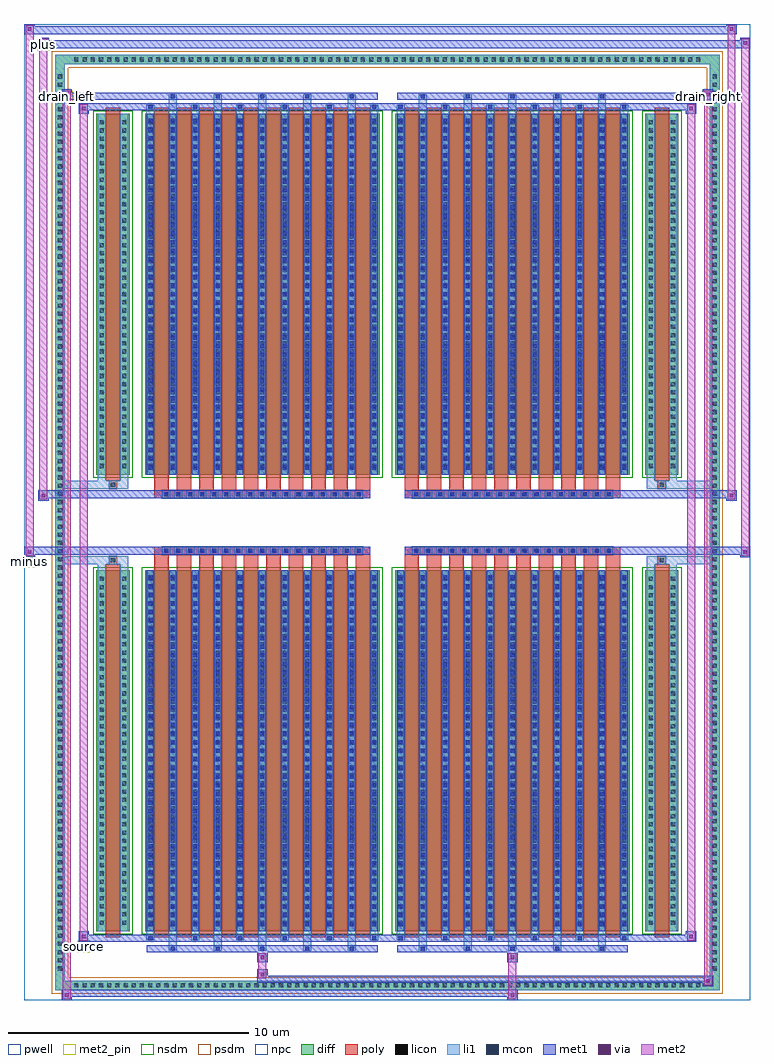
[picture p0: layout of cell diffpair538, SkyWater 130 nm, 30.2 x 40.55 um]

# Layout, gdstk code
import gdstk
lib = gdstk.Library(unit=1e-6, precision=5e-09)
def R(c, l, rs):  # rectangles x0, y0, x1, y1
    for r in rs: c.add(gdstk.rectangle(r[:2], r[2:], *l))
def A(c, l, x, y, w, h, nx, ny, dx, dy):  # array of equal rectangles
    R(c, l, [(x+i*dx, y+j*dy, x+i*dx+w, y+j*dy+h) for i in range(nx) for j in range(ny)])
def P(c, l, *ps):  # polygons
    for p in ps: c.add(gdstk.Polygon(p, *l))
pwell = (64, 44)
diff = (65, 20)
poly = (66, 20)
licon = (66, 44)
li1 = (67, 20)
mcon = (67, 44)
met1 = (68, 20)
via = (68, 44)
met2_pin = (69, 16)
met2 = (69, 20)
nsdm = (93, 44)
psdm = (94, 20)
npc = (95, 20)

diffpair538 = lib.new_cell('diffpair538')
R(diffpair538, pwell, [(-15.08,-19.84,15.08,20.71), (-12.4,-18.03,-0.01,-0.805), (0.01,-18.03,12.4,-0.805), (-12.4,0.805,-0.01,18.03), (0.01,0.805,12.4,18.03)])
A(diffpair538, diff, -13.125, -19.44, 0.41, 0.41, 77, 2, 0.34, 38.47)
A(diffpair538, diff, -13.81, -18.735, 0.41, 0.41, 1, 110, 0, 0.34)
A(diffpair538, diff, 13.4, -18.735, 0.41, 0.41, 1, 110, 0, 0.34)
R(diffpair538, diff, [(-13.125,-19.44,13.125,-19.03), (-13.81,-18.735,-13.4,18.735), (13.4,-18.735,13.81,18.735), (-12.09,-16.985,-10.71,-1.985), (-10.07,-16.985,-0.32,-1.985), (0.32,-16.985,10.07,-1.985), (10.71,-16.985,12.09,-1.985), (-12.09,1.985,-10.71,16.985), (-10.07,1.985,-0.32,16.985), (0.32,1.985,10.07,16.985), (10.71,1.985,12.09,16.985), (-13.125,19.03,13.125,19.44)])
P(diffpair538, diff, [(13.81,19.44),(-13.81,19.44),(-13.81,-19.03),(-13.4,-19.03),(-13.4,19.03),(13.4,19.03),(13.4,-19.03),(-13.4,-19.03),(-13.81,-19.03),(-13.81,-19.44),(13.81,-19.44)])
A(diffpair538, poly, -9.68, -17.235, 0.6, 15.5, 10, 2, 0.93, 18.97)
A(diffpair538, poly, 0.71, -17.235, 0.6, 15.5, 10, 2, 0.93, 18.97)
A(diffpair538, poly, -9.68, -1.735, 0.6, 0.4, 10, 2, 0.93, 3.07)
A(diffpair538, poly, 0.71, -1.735, 0.6, 0.4, 10, 2, 0.93, 3.07)
A(diffpair538, poly, -9.36, -1.335, 0.33, 0.33, 17, 2, 0.5, 2.34)
A(diffpair538, poly, 1.03, -1.335, 0.33, 0.33, 17, 2, 0.5, 2.34)
R(diffpair538, poly, [(-11.7,-17.235,-11.1,-1.735), (11.1,-17.235,11.7,-1.735), (-11.565,-1.735,-11.235,-1.405), (-11.565,-1.735,-11.235,-1.405), (11.235,-1.735,11.565,-1.405), (11.235,-1.735,11.565,-1.405), (-9.68,-1.335,-0.71,-1.005), (0.71,-1.335,9.68,-1.005), (-9.68,1.005,-0.71,1.335), (0.71,1.005,9.68,1.335), (-11.565,1.405,-11.235,1.735), (-11.565,1.405,-11.235,1.735), (11.235,1.405,11.565,1.735), (11.235,1.405,11.565,1.735), (-11.7,1.735,-11.1,17.235), (11.1,1.735,11.7,17.235)])
A(diffpair538, licon, -13.005, -19.32, 0.17, 0.17, 77, 2, 0.34, 38.47)
A(diffpair538, licon, -13.69, -18.615, 0.17, 0.17, 1, 110, 0, 0.34)
A(diffpair538, licon, 13.52, -18.615, 0.17, 0.17, 1, 110, 0, 0.34)
A(diffpair538, licon, -11.95, -16.71, 0.17, 0.17, 1, 43, 0, 0.34)
A(diffpair538, licon, -11.02, -16.71, 0.17, 0.17, 1, 43, 0, 0.34)
A(diffpair538, licon, -9.93, -16.71, 0.17, 0.17, 11, 43, 0.93, 0.34)
A(diffpair538, licon, 0.46, -16.71, 0.17, 0.17, 11, 43, 0.93, 0.34)
A(diffpair538, licon, 10.85, -16.71, 0.17, 0.17, 1, 43, 0, 0.34)
A(diffpair538, licon, 11.78, -16.71, 0.17, 0.17, 1, 43, 0, 0.34)
A(diffpair538, licon, -9.28, -1.255, 0.17, 0.17, 17, 2, 0.5, 2.34)
A(diffpair538, licon, 1.11, -1.255, 0.17, 0.17, 17, 2, 0.5, 2.34)
A(diffpair538, licon, -11.95, 2.26, 0.17, 0.17, 1, 43, 0, 0.34)
A(diffpair538, licon, -11.02, 2.26, 0.17, 0.17, 1, 43, 0, 0.34)
A(diffpair538, licon, -9.93, 2.26, 0.17, 0.17, 11, 43, 0.93, 0.34)
A(diffpair538, licon, 0.46, 2.26, 0.17, 0.17, 11, 43, 0.93, 0.34)
A(diffpair538, licon, 10.85, 2.26, 0.17, 0.17, 1, 43, 0, 0.34)
A(diffpair538, licon, 11.78, 2.26, 0.17, 0.17, 1, 43, 0, 0.34)
R(diffpair538, licon, [(-11.485,-1.655,-11.315,-1.485), (11.315,-1.655,11.485,-1.485), (-11.485,1.485,-11.315,1.655), (11.315,1.485,11.485,1.655)])
A(diffpair538, li1, -13.085, -19.4, 0.33, 0.33, 77, 2, 0.34, 38.47)
A(diffpair538, li1, -13.77, -18.695, 0.33, 0.33, 1, 110, 0, 0.34)
A(diffpair538, li1, 13.44, -18.695, 0.33, 0.33, 1, 110, 0, 0.34)
A(diffpair538, li1, -9.08, -17.79, 0.33, 0.805, 5, 2, 1.86, 34.775)
A(diffpair538, li1, -9, -17.79, 0.17, 0.17, 5, 2, 1.86, 35.41)
A(diffpair538, li1, 1.31, -17.79, 0.33, 0.805, 5, 2, 1.86, 34.775)
A(diffpair538, li1, 1.39, -17.79, 0.17, 0.17, 5, 2, 1.86, 35.41)
A(diffpair538, li1, -10.01, -17.36, 0.33, 0.375, 6, 2, 1.86, 34.345)
A(diffpair538, li1, -9.93, -17.36, 0.17, 0.17, 6, 2, 1.86, 34.55)
A(diffpair538, li1, 0.38, -17.36, 0.33, 0.375, 6, 2, 1.86, 34.345)
A(diffpair538, li1, 0.46, -17.36, 0.17, 0.17, 6, 2, 1.86, 34.55)
A(diffpair538, li1, -10.01, -16.985, 0.33, 15, 11, 2, 0.93, 18.97)
A(diffpair538, li1, 0.38, -16.985, 0.33, 15, 11, 2, 0.93, 18.97)
A(diffpair538, li1, -12.03, -16.79, 0.33, 0.33, 1, 43, 0, 0.34)
A(diffpair538, li1, -11.1, -16.79, 0.33, 0.33, 1, 43, 0, 0.34)
A(diffpair538, li1, -10.01, -16.79, 0.33, 0.33, 11, 43, 0.93, 0.34)
A(diffpair538, li1, 0.38, -16.79, 0.33, 0.33, 11, 43, 0.93, 0.34)
A(diffpair538, li1, 10.77, -16.79, 0.33, 0.33, 1, 43, 0, 0.34)
A(diffpair538, li1, 11.7, -16.79, 0.33, 0.33, 1, 43, 0, 0.34)
A(diffpair538, li1, -9.93, -16.77, 0.17, 0.17, 11, 41, 0.93, 0.36)
A(diffpair538, li1, -9.93, -16.77, 0.17, 14.57, 11, 2, 0.93, 18.97)
A(diffpair538, li1, 0.46, -16.77, 0.17, 0.17, 11, 41, 0.93, 0.36)
A(diffpair538, li1, 0.46, -16.77, 0.17, 14.57, 11, 2, 0.93, 18.97)
A(diffpair538, li1, -9.36, -1.335, 0.33, 0.33, 17, 2, 0.5, 2.34)
A(diffpair538, li1, 1.03, -1.335, 0.33, 0.33, 17, 2, 0.5, 2.34)
A(diffpair538, li1, -12.03, 2.18, 0.33, 0.33, 1, 43, 0, 0.34)
A(diffpair538, li1, -11.1, 2.18, 0.33, 0.33, 1, 43, 0, 0.34)
A(diffpair538, li1, -10.01, 2.18, 0.33, 0.33, 11, 43, 0.93, 0.34)
A(diffpair538, li1, 0.38, 2.18, 0.33, 0.33, 11, 43, 0.93, 0.34)
A(diffpair538, li1, 10.77, 2.18, 0.33, 0.33, 1, 43, 0, 0.34)
A(diffpair538, li1, 11.7, 2.18, 0.33, 0.33, 1, 43, 0, 0.34)
A(diffpair538, li1, -9.93, 2.2, 0.17, 0.17, 11, 41, 0.93, 0.36)
A(diffpair538, li1, 0.46, 2.2, 0.17, 0.17, 11, 41, 0.93, 0.36)
R(diffpair538, li1, [(-13.81,-19.44,-13.4,-19.03), (-13.81,-19.44,-13.4,-19.03), (-13.4,-19.44,13.4,-19.03), (13.4,-19.44,13.81,-19.03), (13.4,-19.44,13.81,-19.03), (-13.81,-19.03,-13.4,19.03), (13.4,-19.03,13.81,19.03), (-12.03,-16.985,-11.7,-1.985), (-11.1,-16.985,-10.77,-1.985), (10.77,-16.985,11.1,-1.985), (11.7,-16.985,12.03,-1.985), (-12.03,-1.985,-11.7,-1.405), (-11.1,-1.985,-10.77,-1.405), (10.77,-1.985,11.1,-1.405), (11.7,-1.985,12.03,-1.405), (-13.81,-1.735,-11.565,-1.405), (-12.03,-1.735,-11.565,-1.405), (-11.565,-1.735,-11.235,-1.405), (-11.235,-1.735,-10.77,-1.405), (10.77,-1.735,11.235,-1.405), (11.235,-1.735,11.565,-1.405), (11.235,-1.735,13.81,-1.405), (11.565,-1.735,12.03,-1.405), (-13.81,1.405,-11.565,1.735), (-12.03,1.405,-11.565,1.735), (-12.03,1.405,-11.7,1.985), (-11.565,1.405,-11.235,1.735), (-11.235,1.405,-10.77,1.735), (-11.1,1.405,-10.77,1.985), (10.77,1.405,11.235,1.735), (10.77,1.405,11.1,1.985), (11.235,1.405,11.565,1.735), (11.235,1.405,13.81,1.735), (11.565,1.405,12.03,1.735), (11.7,1.405,12.03,1.985), (-12.03,1.985,-11.7,16.985), (-11.1,1.985,-10.77,16.985), (10.77,1.985,11.1,16.985), (11.7,1.985,12.03,16.985), (-13.81,19.03,-13.4,19.44), (-13.81,19.03,-13.4,19.44), (-13.4,19.03,13.4,19.44), (13.4,19.03,13.81,19.44), (13.4,19.03,13.81,19.44)])
A(diffpair538, mcon, -9, -17.79, 0.17, 0.17, 5, 2, 1.86, 35.41)
A(diffpair538, mcon, 1.39, -17.79, 0.17, 0.17, 5, 2, 1.86, 35.41)
A(diffpair538, mcon, -9.93, -17.36, 0.17, 0.17, 6, 2, 1.86, 34.55)
A(diffpair538, mcon, 0.46, -17.36, 0.17, 0.17, 6, 2, 1.86, 34.55)
A(diffpair538, mcon, -9.93, -16.77, 0.17, 0.17, 11, 41, 0.93, 0.36)
A(diffpair538, mcon, 0.46, -16.77, 0.17, 0.17, 11, 41, 0.93, 0.36)
A(diffpair538, mcon, -9.28, -1.255, 0.17, 0.17, 17, 2, 0.5, 2.34)
A(diffpair538, mcon, 1.11, -1.255, 0.17, 0.17, 17, 2, 0.5, 2.34)
A(diffpair538, mcon, -9.93, 2.2, 0.17, 0.17, 11, 41, 0.93, 0.36)
A(diffpair538, mcon, 0.46, 2.2, 0.17, 0.17, 11, 41, 0.93, 0.36)
A(diffpair538, met1, -9.06, -17.85, 0.29, 0.29, 5, 2, 1.86, 35.41)
A(diffpair538, met1, 1.33, -17.85, 0.29, 0.29, 5, 2, 1.86, 35.41)
A(diffpair538, met1, -9.99, -17.42, 0.29, 0.29, 6, 2, 1.86, 34.55)
A(diffpair538, met1, 0.4, -17.42, 0.29, 0.29, 6, 2, 1.86, 34.55)
A(diffpair538, met1, -9.99, -16.985, 0.29, 15, 11, 2, 0.93, 18.97)
A(diffpair538, met1, 0.4, -16.985, 0.29, 15, 11, 2, 0.93, 18.97)
A(diffpair538, met1, -9.99, -16.83, 0.29, 0.29, 11, 41, 0.93, 0.36)
A(diffpair538, met1, 0.4, -16.83, 0.29, 0.29, 11, 41, 0.93, 0.36)
A(diffpair538, met1, -9.34, -1.315, 0.29, 0.29, 17, 2, 0.5, 2.34)
A(diffpair538, met1, 1.05, -1.315, 0.29, 0.29, 17, 2, 0.5, 2.34)
A(diffpair538, met1, -9.99, 2.14, 0.29, 0.29, 11, 41, 0.93, 0.36)
A(diffpair538, met1, 0.4, 2.14, 0.29, 0.29, 11, 41, 0.93, 0.36)
R(diffpair538, met1, [(-13.54,-19.84,-13.11,-19.41), (4.98,-19.84,5.41,-19.41), (-13.54,-19.7,5.41,-19.41), (13.11,-19.27,13.54,-18.84), (-5.41,-19.13,13.54,-18.84), (-5.41,-18.99,-4.98,-18.56), (-5.41,-18.28,-4.98,-17.85), (4.98,-18.28,5.41,-17.85), (-9.99,-17.85,-0.4,-17.56), (0.4,-17.85,9.99,-17.56), (-12.83,-17.42,-12.4,-16.99), (-12.83,-17.42,-9.99,-17.13), (-9.99,-17.42,-0.4,-17.13), (-0.4,-17.42,0.4,-17.13), (0.4,-17.42,9.99,-17.13), (9.99,-17.42,12.83,-17.13), (12.4,-17.42,12.83,-16.99), (-15.08,-1.435,-14.65,-1.005), (14.65,-1.435,15.08,-1.005), (-15.08,-1.335,-0.71,-1.005), (-9.68,-1.335,-0.71,-1.005), (0.71,-1.335,9.68,-1.005), (0.71,-1.335,15.08,-1.005), (-14.51,0.905,-14.08,1.335), (14.08,0.905,14.51,1.335), (-14.51,1.005,-9.68,1.335), (-9.68,1.005,-0.71,1.335), (0.71,1.005,9.68,1.335), (9.68,1.005,14.51,1.335), (-12.83,16.99,-12.4,17.42), (12.4,16.99,12.83,17.42), (-12.83,17.13,-9.99,17.42), (-9.99,17.13,-0.4,17.42), (-0.4,17.13,0.4,17.42), (0.4,17.13,9.99,17.42), (9.99,17.13,12.83,17.42), (-13.54,17.56,-13.11,17.99), (-13.54,17.56,-9.99,17.85), (-9.99,17.56,-0.4,17.85), (0.4,17.56,9.99,17.85), (9.99,17.56,13.54,17.85), (13.11,17.56,13.54,17.99), (-14.51,19.71,-14.08,20.14), (-14.51,19.71,-12.4,20.04), (-12.4,19.71,12.4,20.04), (12.4,19.71,15.08,20.04), (14.65,19.71,15.08,20.14), (-15.08,20.28,-14.65,20.71), (-15.08,20.28,-12.4,20.61), (-12.4,20.28,12.4,20.61), (12.4,20.28,14.51,20.61), (14.08,20.28,14.51,20.71)])
R(diffpair538, via, [(-13.4,-19.7,-13.25,-19.55), (5.12,-19.7,5.27,-19.55), (13.25,-19.13,13.4,-18.98), (-5.27,-18.85,-5.12,-18.7), (-5.27,-18.14,-5.12,-17.99), (5.12,-18.14,5.27,-17.99), (-12.69,-17.28,-12.54,-17.13), (12.54,-17.28,12.69,-17.13), (-14.94,-1.295,-14.79,-1.145), (14.79,-1.295,14.94,-1.145), (-14.37,1.045,-14.22,1.195), (14.22,1.045,14.37,1.195), (-12.69,17.13,-12.54,17.28), (12.54,17.13,12.69,17.28), (-13.4,17.7,-13.25,17.85), (13.25,17.7,13.4,17.85), (-14.37,19.85,-14.22,20), (14.79,19.85,14.94,20), (-14.94,20.42,-14.79,20.57), (14.22,20.42,14.37,20.57)])
R(diffpair538, met2_pin, [(-12.865,-17.87,-12.365,-17.37), (-15.115,-1.885,-14.615,-1.385), (-13.575,17.44,-13.075,17.94), (13.075,17.44,13.575,17.94), (-14.545,19.59,-14.045,20.09)])
R(diffpair538, met2, [(-13.49,-19.79,-13.16,-19.46), (-13.49,-19.79,-13.16,17.94), (5.03,-19.79,5.36,-19.46), (5.03,-19.46,5.36,-18.23), (13.16,-19.22,13.49,-18.89), (13.16,-19.22,13.49,17.94), (-5.36,-18.94,-5.03,-18.61), (-5.36,-18.61,-5.03,-18.23), (-5.36,-18.23,-5.03,-17.9), (5.03,-18.23,5.36,-17.9), (-12.78,-17.37,-12.45,-17.04), (-12.78,-17.37,-12.45,17.37), (12.45,-17.37,12.78,-17.04), (12.45,-17.37,12.78,17.37), (-15.03,-1.385,-14.7,-1.055), (-15.03,-1.385,-14.7,20.66), (14.7,-1.385,15.03,-1.055), (14.7,-1.385,15.03,20.09), (-14.46,0.955,-14.13,1.285), (-14.46,0.955,-14.13,20.09), (14.13,0.955,14.46,1.285), (14.13,0.955,14.46,20.66), (-12.78,17.04,-12.45,17.37), (12.45,17.04,12.78,17.37), (-13.49,17.61,-13.16,17.94), (13.16,17.61,13.49,17.94), (-14.46,19.76,-14.13,20.09), (14.7,19.76,15.03,20.09), (-15.03,20.33,-14.7,20.66), (14.13,20.33,14.46,20.66)])
P(diffpair538, met2, [(15.03,-1.385),(15.03,-1.385),(15.03,-1.055),(15.03,-1.055)],
  [(15.03,19.76),(15.03,19.76),(15.03,20.09),(15.03,20.09)],
  [(-14.7,-1.385),(-14.7,-1.385),(-14.7,-1.055),(-14.7,-1.055)],
  [(-14.7,20.33),(-14.7,20.33),(-14.7,20.66),(-14.7,20.66)],
  [(14.46,0.955),(14.46,0.955),(14.46,1.285),(14.46,1.285)],
  [(14.46,20.33),(14.46,20.33),(14.46,20.66),(14.46,20.66)],
  [(-14.13,0.955),(-14.13,0.955),(-14.13,1.285),(-14.13,1.285)],
  [(-14.13,19.76),(-14.13,19.76),(-14.13,20.09),(-14.13,20.09)],
  [(-13.16,-19.79),(-13.16,-19.79),(-13.16,-19.46),(-13.16,-19.46)],
  [(-13.16,17.61),(-13.16,17.61),(-13.16,17.94),(-13.16,17.94)],
  [(13.49,-19.22),(13.49,-19.22),(13.49,-18.89),(13.49,-18.89)],
  [(13.49,17.61),(13.49,17.61),(13.49,17.94),(13.49,17.94)],
  [(-12.45,-17.37),(-12.45,-17.37),(-12.45,-17.04),(-12.45,-17.04)],
  [(-12.45,17.04),(-12.45,17.04),(-12.45,17.37),(-12.45,17.37)],
  [(12.78,-17.37),(12.78,-17.37),(12.78,-17.04),(12.78,-17.04)],
  [(12.78,17.04),(12.78,17.04),(12.78,17.37),(12.78,17.37)])
R(diffpair538, nsdm, [(-12.22,-17.115,-10.58,-1.855), (-10.2,-17.115,-0.19,-1.855), (0.19,-17.115,10.2,-1.855), (10.58,-17.115,12.22,-1.855), (-12.22,1.855,-10.58,17.115), (-10.2,1.855,-0.19,17.115), (0.19,1.855,10.2,17.115), (10.58,1.855,12.22,17.115)])
P(diffpair538, psdm, [(13.94,19.57),(-13.94,19.57),(-13.94,-18.9),(-13.27,-18.9),(-13.27,18.9),(13.27,18.9),(13.27,-18.9),(-13.27,-18.9),(-13.94,-18.9),(-13.94,-19.57),(13.94,-19.57)])
A(diffpair538, npc, -9.38, -1.355, 0.37, 0.37, 17, 2, 0.5, 2.34)
A(diffpair538, npc, 1.01, -1.355, 0.37, 0.37, 17, 2, 0.5, 2.34)
R(diffpair538, npc, [(-11.585,-1.755,-11.215,-1.385), (11.215,-1.755,11.585,-1.385), (-9.38,-1.355,-8.51,-0.985), (-9.38,-1.355,-8.51,-0.985), (-8.88,-1.355,-8.01,-0.985), (-8.88,-1.355,-8.01,-0.985), (-8.38,-1.355,-7.51,-0.985), (-8.38,-1.355,-7.51,-0.985), (-7.88,-1.355,-7.01,-0.985), (-7.88,-1.355,-7.01,-0.985), (-7.38,-1.355,-6.51,-0.985), (-7.38,-1.355,-6.51,-0.985), (-6.88,-1.355,-6.01,-0.985), (-6.88,-1.355,-6.01,-0.985), (-6.38,-1.355,-5.51,-0.985), (-6.38,-1.355,-5.51,-0.985), (-5.88,-1.355,-5.01,-0.985), (-5.88,-1.355,-5.01,-0.985), (-5.38,-1.355,-4.51,-0.985), (-5.38,-1.355,-4.51,-0.985), (-4.88,-1.355,-4.01,-0.985), (-4.88,-1.355,-4.01,-0.985), (-4.38,-1.355,-3.51,-0.985), (-4.38,-1.355,-3.51,-0.985), (-3.88,-1.355,-3.01,-0.985), (-3.88,-1.355,-3.01,-0.985), (-3.38,-1.355,-2.51,-0.985), (-3.38,-1.355,-2.51,-0.985), (-2.88,-1.355,-2.01,-0.985), (-2.88,-1.355,-2.01,-0.985), (-2.38,-1.355,-1.51,-0.985), (-2.38,-1.355,-1.51,-0.985), (-1.88,-1.355,-1.01,-0.985), (-1.88,-1.355,-1.01,-0.985), (1.01,-1.355,1.88,-0.985), (1.01,-1.355,1.88,-0.985), (1.51,-1.355,2.38,-0.985), (1.51,-1.355,2.38,-0.985), (2.01,-1.355,2.88,-0.985), (2.01,-1.355,2.88,-0.985), (2.51,-1.355,3.38,-0.985), (2.51,-1.355,3.38,-0.985), (3.01,-1.355,3.88,-0.985), (3.01,-1.355,3.88,-0.985), (3.51,-1.355,4.38,-0.985), (3.51,-1.355,4.38,-0.985), (4.01,-1.355,4.88,-0.985), (4.01,-1.355,4.88,-0.985), (4.51,-1.355,5.38,-0.985), (4.51,-1.355,5.38,-0.985), (5.01,-1.355,5.88,-0.985), (5.01,-1.355,5.88,-0.985), (5.51,-1.355,6.38,-0.985), (5.51,-1.355,6.38,-0.985), (6.01,-1.355,6.88,-0.985), (6.01,-1.355,6.88,-0.985), (6.51,-1.355,7.38,-0.985), (6.51,-1.355,7.38,-0.985), (7.01,-1.355,7.88,-0.985), (7.01,-1.355,7.88,-0.985), (7.51,-1.355,8.38,-0.985), (7.51,-1.355,8.38,-0.985), (8.01,-1.355,8.88,-0.985), (8.01,-1.355,8.88,-0.985), (8.51,-1.355,9.38,-0.985), (8.51,-1.355,9.38,-0.985), (-9.38,0.985,-8.51,1.355), (-9.38,0.985,-8.51,1.355), (-8.88,0.985,-8.01,1.355), (-8.88,0.985,-8.01,1.355), (-8.38,0.985,-7.51,1.355), (-8.38,0.985,-7.51,1.355), (-7.88,0.985,-7.01,1.355), (-7.88,0.985,-7.01,1.355), (-7.38,0.985,-6.51,1.355), (-7.38,0.985,-6.51,1.355), (-6.88,0.985,-6.01,1.355), (-6.88,0.985,-6.01,1.355), (-6.38,0.985,-5.51,1.355), (-6.38,0.985,-5.51,1.355), (-5.88,0.985,-5.01,1.355), (-5.88,0.985,-5.01,1.355), (-5.38,0.985,-4.51,1.355), (-5.38,0.985,-4.51,1.355), (-4.88,0.985,-4.01,1.355), (-4.88,0.985,-4.01,1.355), (-4.38,0.985,-3.51,1.355), (-4.38,0.985,-3.51,1.355), (-3.88,0.985,-3.01,1.355), (-3.88,0.985,-3.01,1.355), (-3.38,0.985,-2.51,1.355), (-3.38,0.985,-2.51,1.355), (-2.88,0.985,-2.01,1.355), (-2.88,0.985,-2.01,1.355), (-2.38,0.985,-1.51,1.355), (-2.38,0.985,-1.51,1.355), (-1.88,0.985,-1.01,1.355), (-1.88,0.985,-1.01,1.355), (1.01,0.985,1.88,1.355), (1.01,0.985,1.88,1.355), (1.51,0.985,2.38,1.355), (1.51,0.985,2.38,1.355), (2.01,0.985,2.88,1.355), (2.01,0.985,2.88,1.355), (2.51,0.985,3.38,1.355), (2.51,0.985,3.38,1.355), (3.01,0.985,3.88,1.355), (3.01,0.985,3.88,1.355), (3.51,0.985,4.38,1.355), (3.51,0.985,4.38,1.355), (4.01,0.985,4.88,1.355), (4.01,0.985,4.88,1.355), (4.51,0.985,5.38,1.355), (4.51,0.985,5.38,1.355), (5.01,0.985,5.88,1.355), (5.01,0.985,5.88,1.355), (5.51,0.985,6.38,1.355), (5.51,0.985,6.38,1.355), (6.01,0.985,6.88,1.355), (6.01,0.985,6.88,1.355), (6.51,0.985,7.38,1.355), (6.51,0.985,7.38,1.355), (7.01,0.985,7.88,1.355), (7.01,0.985,7.88,1.355), (7.51,0.985,8.38,1.355), (7.51,0.985,8.38,1.355), (8.01,0.985,8.88,1.355), (8.01,0.985,8.88,1.355), (8.51,0.985,9.38,1.355), (8.51,0.985,9.38,1.355), (-11.585,1.385,-11.215,1.755), (11.215,1.385,11.585,1.755)])
diffpair538.add(gdstk.Label('minus', (-14.865,-1.635), layer=69, texttype=5))
diffpair538.add(gdstk.Label('drain_right', (13.325,17.69), layer=69, texttype=5))
diffpair538.add(gdstk.Label('drain_left', (-13.325,17.69), layer=69, texttype=5))
diffpair538.add(gdstk.Label('source', (-12.615,-17.62), layer=69, texttype=5))
diffpair538.add(gdstk.Label('plus', (-14.295,19.84), layer=69, texttype=5))

lib.write_gds('diffpair538.gds')
